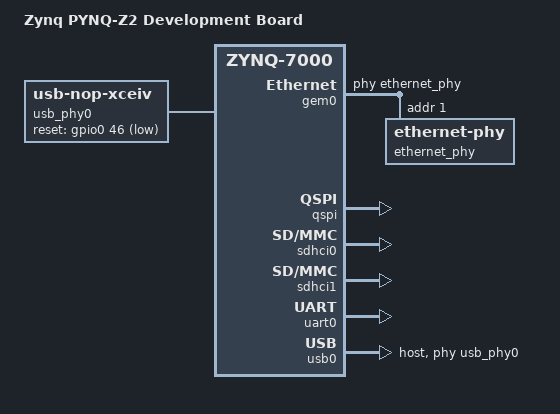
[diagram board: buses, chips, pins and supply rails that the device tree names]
/dts-v1/;

#include "system-top.dts"

/ {
	model = "Zynq PYNQ-Z2 Development Board";
	compatible = "digilent,zynq-artyz", "xlnx,zynq-7000";

	aliases {
		ethernet0 = &gem0;
		serial0 = &uart0;
		spi0 = &qspi;
		mmc0 = &sdhci0;
		mmc1 = &sdhci1;
	};

	usb_phy0: phy0 {
		compatible = "usb-nop-xceiv";
		#phy-cells = <0>;
		reset-gpios = <&gpio0 46 1>;
	};
};

&gem0 {
	status = "okay";
	phy-handle = <&ethernet_phy>;

	ethernet_phy: ethernet-phy@0 {
		reg = <1>;
	};
};

&qspi {
	u-boot,dm-pre-reloc;
	status = "okay";
};

&sdhci0 {
	u-boot,dm-pre-reloc;
	status = "okay";
};

&sdhci1 {
	u-boot,dm-pre-reloc;
	status = "okay";
};

&uart0 {
	u-boot,dm-pre-reloc;
	status = "okay";
};

&usb0 {
	status = "okay";
	dr_mode = "host";
	usb-phy = <&usb_phy0>;
};
